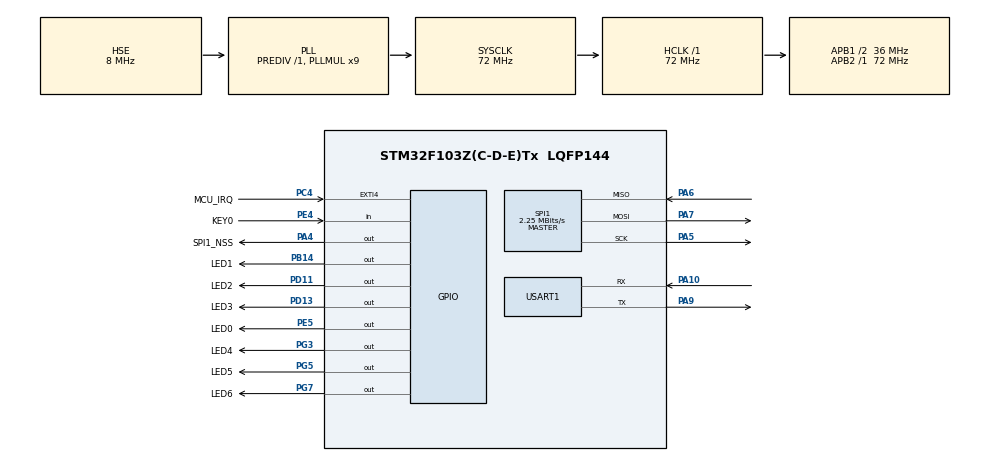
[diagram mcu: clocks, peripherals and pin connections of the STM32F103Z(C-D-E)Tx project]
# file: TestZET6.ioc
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Mcu.Family=STM32F1
PA6.Mode=Full_Duplex_Master
SPI1.VirtualType=VM_MASTER
PB14.GPIO_Label=LED1
PG5.GPIO_ModeDefaultOutputPP=GPIO_MODE_OUTPUT_PP
PG5.GPIO_Label=LED5
RCC.SYSCLKSource=RCC_SYSCLKSOURCE_PLLCLK
ProjectManager.StackSize=0x400
PG3.GPIO_PuPd=GPIO_PULLDOWN
PD13.Signal=GPIO_Output
PD11.GPIO_PuPd=GPIO_PULLDOWN
PE5.GPIO_PuPd=GPIO_PULLUP
SPI1.Direction=SPI_DIRECTION_2LINES
PD11.GPIO_Label=LED2
RCC.HCLKFreq_Value=72000000
RCC.APB2TimFreq_Value=72000000
SPI1.CalculateBaudRate=2.25 MBits/s
PG5.GPIO_PuPd=GPIO_PULLDOWN
PE5.Signal=GPIO_Output
OSC_OUT.Mode=HSE-External-Oscillator
OSC_OUT.Signal=RCC_OSC_OUT
RCC.AHBFreq_Value=72000000
PA4.GPIO_PuPd=GPIO_PULLUP
RCC.PLLMUL=RCC_PLL_MUL9
PA4.GPIO_Speed=GPIO_SPEED_FREQ_HIGH
PC4.GPIO_Label=MCU_IRQ
PA14.Mode=Serial_Wire
PE4.GPIO_Label=KEY0
PE5.PinState=GPIO_PIN_SET
PG7.GPIO_PuPd=GPIO_PULLDOWN
PE4.Signal=GPIO_Input
PD13.GPIO_Label=LED3
Mcu.Package=LQFP144
PB14.GPIO_PuPd=GPIO_PULLDOWN
PA6.Signal=SPI1_MISO
PA10.Signal=USART1_RX
PA4.GPIO_ModeDefaultOutputPP=GPIO_MODE_OUTPUT_PP
RCC.APB1TimFreq_Value=72000000
NVIC.USART1_IRQn=true\:1\:1\:true\:false\:true\:true\:true
SPI1.BaudRatePrescaler=SPI_BAUDRATEPRESCALER_32
PA4.GPIO_Label=SPI1_NSS
PA5.Mode=Full_Duplex_Master
RCC.PLLSourceVirtual=RCC_PLLSOURCE_HSE
NVIC.EXTI4_IRQn=true\:1\:0\:true\:false\:true\:true\:true
PC4.GPIO_ModeDefaultEXTI=GPIO_MODE_IT_RISING
PA7.Mode=Full_Duplex_Master
PG7.Signal=GPIO_Output
PA10.Mode=Asynchronous
PG3.Signal=GPIO_Output
PC4.GPIO_PuPd=GPIO_PULLDOWN
PG5.Signal=GPIO_Output
PC4.Signal=GPXTI4
SPI1.CLKPhase=SPI_PHASE_2EDGE
RCC.APB1CLKDivider=RCC_HCLK_DIV2
PA13.Signal=SYS_JTMS-SWDIO
PA9.Mode=Asynchronous
PB14.PinState=GPIO_PIN_RESET
PA4.PinState=GPIO_PIN_SET
ProjectManager.TargetToolchain=STM32CubeIDE
PB14.GPIO_Speed=GPIO_SPEED_FREQ_HIGH
PG5.PinState=GPIO_PIN_RESET
PD11.GPIO_Speed=GPIO_SPEED_FREQ_HIGH
PA9.Signal=USART1_TX
OSC_IN.Signal=RCC_OSC_IN
RCC.USBFreq_Value=72000000
PB14.GPIO_ModeDefaultOutputPP=GPIO_MODE_OUTPUT_PP
PB14.Signal=GPIO_Output
PA5.Signal=SPI1_SCK
board=custom
PD13.GPIO_Speed=GPIO_SPEED_FREQ_HIGH
PG7.GPIO_Speed=GPIO_SPEED_FREQ_HIGH
RCC.APB2Freq_Value=72000000
SPI1.Mode=SPI_MODE_MASTER
PG7.GPIO_Label=LED6
PD13.GPIO_PuPd=GPIO_PULLDOWN
PA13.Mode=Serial_Wire
Mcu.Name=STM32F103Z(C-D-E)Tx
PE4.GPIO_PuPd=GPIO_PULLUP
PA4.Signal=GPIO_Output
RCC.SYSCLKFreq_VALUE=72000000
OSC_IN.Mode=HSE-External-Oscillator
PD11.Signal=GPIO_Output
PD13.GPIO_ModeDefaultOutputPP=GPIO_MODE_OUTPUT_PP
PE5.GPIO_Label=LED0
USART1.VirtualMode=VM_ASYNC
PG3.GPIO_Speed=GPIO_SPEED_FREQ_HIGH
PA14.Signal=SYS_JTCK-SWCLK
ProjectManager.HeapSize=0x200
PE5.GPIO_ModeDefaultOutputPP=GPIO_MODE_OUTPUT_PP
NVIC.PriorityGroup=NVIC_PRIORITYGROUP_2
PE5.GPIO_Speed=GPIO_SPEED_FREQ_HIGH
PG3.GPIO_Label=LED4
PG5.GPIO_Speed=GPIO_SPEED_FREQ_HIGH
RCC.APB1Freq_Value=36000000
PA7.Signal=SPI1_MOSI

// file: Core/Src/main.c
/* USER CODE BEGIN Header */
/**
  ******************************************************************************
  * @file           : main.c
  * @brief          : Main program body
  ******************************************************************************
  * @attention
  *
  * <h2><center>&copy; Copyright (c) 2021 STMicroelectronics.
  * All rights reserved.</center></h2>
  *
  * This software component is licensed by ST under BSD 3-Clause license,
  * the "License"; You may not use this file except in compliance with the
  * License. You may obtain a copy of the License at:
  *                        opensource.org/licenses/BSD-3-Clause
  *
  ******************************************************************************
  */
/* USER CODE END Header */
#include "main.h"
#include "spi.h"
#include "usart.h"
#include "gpio.h"

/* USER CODE BEGIN Includes */

#include "stdio.h"
#include "demo.h"
#include "nfc06a1.h"

/* USER CODE END Includes */

/* USER CODE BEGIN PV */

uint8_t globalCommProtectCnt = 0;

uint8_t uartrxdata = 0;

bool buttonflag = false;	//模拟按键
bool wakeupflag = false;	//wakeup模式切换
bool trogleLED = false;		//点灯

/* USER CODE END PV */

void SystemClock_Config(void);
/* USER CODE BEGIN PFP */

#ifdef __GNUC__
#define PUTCHAR_PROTOTYPE int __io_putchar(int ch)
#else
#define PUTCHAR_PROTOTYPE int fputc(int ch, FILE *f)
#endif

PUTCHAR_PROTOTYPE
{
	HAL_UART_Transmit(&huart1,(uint8_t*)&ch, 1, 0xFFFF);
 	return ch;
}

/* USER CODE END PFP */

int main(void)
{
  /* USER CODE BEGIN 1 */

	rfalNfcDevice nfcDev;
  /* USER CODE END 1 */

  /* MCU Configuration--------------------------------------------------------*/

  /* Reset of all peripherals, Initializes the Flash interface and the Systick. */
  HAL_Init();

  /* Configure the system clock */
  SystemClock_Config();

  /* Initialize all configured peripherals */
  MX_GPIO_Init();
  MX_USART1_UART_Init();
  MX_SPI1_Init();
  /* USER CODE BEGIN 2 */

  HAL_UART_Receive_IT(&huart1, &uartrxdata, 1);

  printf("Demo Start\r\n");

  if(!demoIni())
  {
	  printf("st25r3916Init [ERROR]\r\n");
	  while(1)
	  	  {
	  		  NFC06A1_LED_Toggle( TX_LED );
	  		  NFC06A1_LED_Toggle( TA_LED );
	  		  NFC06A1_LED_Toggle( TB_LED );
	  		  NFC06A1_LED_Toggle( TF_LED );
	  		  NFC06A1_LED_Toggle( TV_LED );
	  		  NFC06A1_LED_Toggle( AP2P_LED );
	  		  platformDelay(100);
	  	  }
  }
  else
  {
	  printf("st25r3916Init [OK]\r\n");
	  for (int i = 0; i < 6; i++)
	  	{
	  		NFC06A1_LED_Toggle( TX_LED );
	  		NFC06A1_LED_Toggle( TA_LED );
	  		NFC06A1_LED_Toggle( TB_LED );
	  		NFC06A1_LED_Toggle( TF_LED );
	  		NFC06A1_LED_Toggle( TV_LED );
	  		NFC06A1_LED_Toggle( AP2P_LED );
	  		platformDelay(200);
	  	}

	  		NFC06A1_LED_OFF( TA_LED );
	  		NFC06A1_LED_OFF( TB_LED );
	  		NFC06A1_LED_OFF( TF_LED );
	  		NFC06A1_LED_OFF( TV_LED );
	  		NFC06A1_LED_OFF( AP2P_LED );
	  		NFC06A1_LED_OFF( TX_LED );
  }

  /* USER CODE END 2 */

  /* Infinite loop */
  /* USER CODE BEGIN WHILE */
  while (true)
  {
	  if (trogleLED)
	  {
		  HAL_GPIO_TogglePin(LED0_GPIO_Port, LED0_Pin);
		  printf("TrogleLED\r\n");
		  HAL_Delay(1000);
	  }
	  else
	  {
//		  demoCE(&nfcDev);
		  demoCycle();
//		  HAL_Delay(200);
	  }
//	  printf("test\r\n");
//	  HAL_Delay(1000);

    /* USER CODE END WHILE */

  }
}

void SystemClock_Config(void)
{
  RCC_OscInitTypeDef RCC_OscInitStruct = {0};
  RCC_ClkInitTypeDef RCC_ClkInitStruct = {0};

  /** Initializes the RCC Oscillators according to the specified parameters
  * in the RCC_OscInitTypeDef structure.
  */
  RCC_OscInitStruct.OscillatorType = RCC_OSCILLATORTYPE_HSE;
  RCC_OscInitStruct.HSEState = RCC_HSE_ON;
  RCC_OscInitStruct.HSEPredivValue = RCC_HSE_PREDIV_DIV1;
  RCC_OscInitStruct.HSIState = RCC_HSI_ON;
  RCC_OscInitStruct.PLL.PLLState = RCC_PLL_ON;
  RCC_OscInitStruct.PLL.PLLSource = RCC_PLLSOURCE_HSE;
  RCC_OscInitStruct.PLL.PLLMUL = RCC_PLL_MUL9;
  if (HAL_RCC_OscConfig(&RCC_OscInitStruct) != HAL_OK)
  {
    Error_Handler();
  }
  /** Initializes the CPU, AHB and APB buses clocks
  */
  RCC_ClkInitStruct.ClockType = RCC_CLOCKTYPE_HCLK|RCC_CLOCKTYPE_SYSCLK
                              |RCC_CLOCKTYPE_PCLK1|RCC_CLOCKTYPE_PCLK2;
  RCC_ClkInitStruct.SYSCLKSource = RCC_SYSCLKSOURCE_PLLCLK;
  RCC_ClkInitStruct.AHBCLKDivider = RCC_SYSCLK_DIV1;
  RCC_ClkInitStruct.APB1CLKDivider = RCC_HCLK_DIV2;
  RCC_ClkInitStruct.APB2CLKDivider = RCC_HCLK_DIV1;

  if (HAL_RCC_ClockConfig(&RCC_ClkInitStruct, FLASH_LATENCY_2) != HAL_OK)
  {
    Error_Handler();
  }
}

void Error_Handler(void)
{
  __disable_irq();
  while (1)
  {
  }
}

/************************ (C) COPYRIGHT STMicroelectronics *****END OF FILE****/
